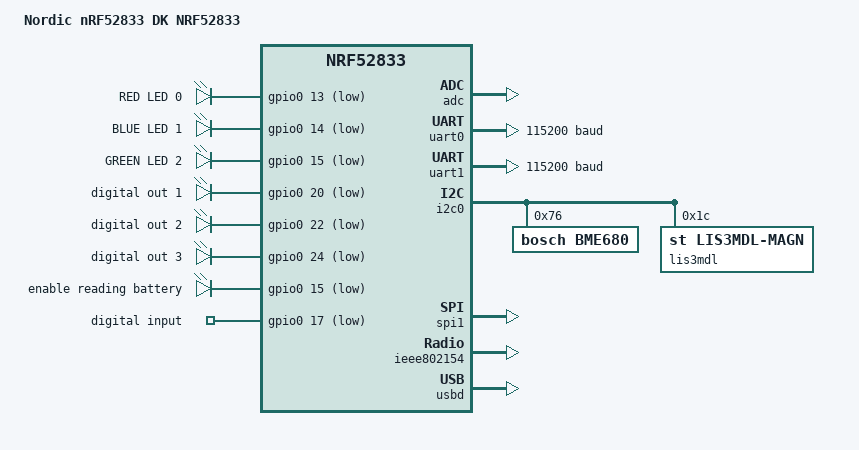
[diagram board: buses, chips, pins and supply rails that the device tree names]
/*
 * Copyright (c) 2019 Nordic Semiconductor ASA
 *
 * SPDX-License-Identifier: Apache-2.0
 */

/dts-v1/;
#include <nordic/nrf52833_qiaa.dtsi>
#include "tautek-pinctrl.dtsi"
#include <freq.h>

/ {
	model = "Nordic nRF52833 DK NRF52833";
	compatible = "nordic,nrf52833-dk-nrf52833";

	chosen {
		zephyr,console = &uart0;
		zephyr,shell-uart = &uart0;
		zephyr,uart-mcumgr = &uart0;
		zephyr,bt-mon-uart = &uart0;
		zephyr,bt-c2h-uart = &uart0;
		zephyr,sram = &sram0;
		zephyr,flash = &flash0;
		zephyr,code-partition = &slot0_partition;
		zephyr,ieee802154 = &ieee802154;
	};

	leds {
		compatible = "gpio-leds";
		red_led: red_led {
			gpios = <&gpio0 13 GPIO_ACTIVE_LOW>;
			label = "RED LED 0";
		};
		blue_led: blue_led {
			gpios = <&gpio0 14 GPIO_ACTIVE_LOW>;
			label = "BLUE LED 1";
		};
		green_led: green_led {
			gpios = <&gpio0 15 GPIO_ACTIVE_LOW>;
			label = "GREEN LED 2";
		};
		dout1: dout_1 {
			gpios = <&gpio0 20 GPIO_ACTIVE_LOW>;
			label = "digital out 1";
		};
		dout2: dout_2 {
			gpios = <&gpio0 22 GPIO_ACTIVE_LOW>;
			label = "digital out 2";
		};
		dout3: dout_3 {
			gpios = <&gpio0 24 GPIO_ACTIVE_LOW>;
			label = "digital out 3";
		};
		readbat: read_bat {
			gpios = <&gpio0 15 GPIO_ACTIVE_LOW>;
			label = "enable reading battery";
		};
	};

	buttons {
		compatible = "gpio-keys";
		din: din {
			gpios = <&gpio0 17 (GPIO_PULL_UP | GPIO_ACTIVE_LOW)>;
			label = "digital input";
		};
	};
	/* These aliases are provided for compatibility with samples */
	aliases {
		redled = &red_led;
		blueled = &blue_led;
		greenled = &green_led;
		din = &din;
		dout1 = &dout1;
		dout2 = &dout2;
		dout3 = &dout3;
		readbat = &readbat;
		bootloader-led0 = &red_led;
		mcuboot-button0 = &din;
		mcuboot-led0 = &red_led;
		watchdog0 = &wdt0;
	};
};

&adc {
	status = "okay";
};

&gpiote {
	status = "okay";
};

&gpio0 {
	status = "okay";
};

&gpio1 {
	status = "okay";
};

&uart0 {
	compatible = "nordic,nrf-uarte";
	status = "okay";
	current-speed = <115200>;
	pinctrl-0 = <&uart0_default>;
	pinctrl-1 = <&uart0_sleep>;
	pinctrl-names = "default", "sleep";
};

&uart1 {
	current-speed = <115200>;
	pinctrl-0 = <&uart1_default>;
	pinctrl-1 = <&uart1_sleep>;
	pinctrl-names = "default", "sleep";
};

&i2c0 {
	compatible = "nordic,nrf-twi";
	status = "okay";
	pinctrl-0 = <&i2c0_default>;
	pinctrl-1 = <&i2c0_sleep>;
	pinctrl-names = "default", "sleep";

	bme680@76 {
		compatible = "bosch,bme680";
		reg = <0x76>;
	};
	lis3mdl@1c {
		compatible = "st,lis3mdl-magn";
		reg = <0x1c>;
	};
};

&i2c1 {
	compatible = "nordic,nrf-twi";
	/* Cannot be used together with spi1. */
	/* status = "okay"; */
	pinctrl-0 = <&i2c1_default>;
	pinctrl-1 = <&i2c1_sleep>;
	pinctrl-names = "default", "sleep";
};

&spi1 {
	compatible = "nordic,nrf-spi";
	status = "okay";
	pinctrl-0 = <&spi1_default>;
	pinctrl-1 = <&spi1_sleep>;
	pinctrl-names = "default", "sleep";
};

&ieee802154 {
	status = "okay";
};

&flash0 {

	partitions {
		compatible = "fixed-partitions";
		#address-cells = <1>;
		#size-cells = <1>;

		boot_partition: partition@0 {
			label = "mcuboot";
			reg = <0x00000000 0xC000>;
		};
		slot0_partition: partition@c000 {
			label = "image-0";
			reg = <0x0000C000 0x37000>;
		};
		slot1_partition: partition@43000 {
			label = "image-1";
			reg = <0x00043000 0x37000>;
		};
		storage_partition: partition@7a000 {
			label = "storage";
			reg = <0x0007A000 0x00006000>;
		};
	};
};

zephyr_udc0: &usbd {
	compatible = "nordic,nrf-usbd";
	status = "okay";
};
